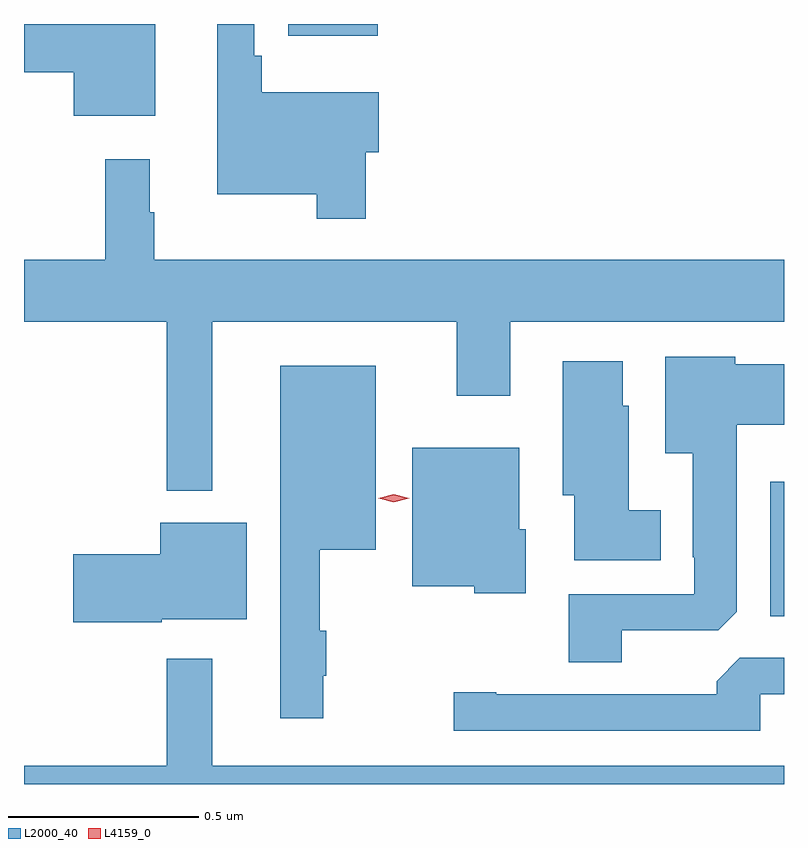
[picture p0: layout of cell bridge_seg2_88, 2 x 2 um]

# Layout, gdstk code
import gdstk
lib = gdstk.Library(unit=1e-6, precision=1e-09)
def R(c, l, rs):  # rectangles x0, y0, x1, y1
    for r in rs: c.add(gdstk.rectangle(r[:2], r[2:], *l))
def P(c, l, *ps):  # polygons
    for p in ps: c.add(gdstk.Polygon(p, *l))
L2000_40 = (2000, 40)
L4159_0 = (4159, 0)

bridge_seg2_88 = lib.new_cell('bridge_seg2_88')
R(bridge_seg2_88, L2000_40, [(327.251,641.534,327.287,641.887), (325.982,643.061,326.218,643.092)])
P(bridge_seg2_88, L2000_40, [(326.186,642.755),(326.221,642.755),(326.221,642.913),(325.913,642.913),(325.913,643.009),(325.893,643.009),(325.893,643.092),(325.796,643.092),(325.796,642.644),(326.058,642.644),(326.058,642.579),(326.186,642.579)],
  [(325.633,643.092),(325.287,643.092),(325.287,642.965),(325.418,642.965),(325.418,642.851),(325.633,642.851)],
  [(325.783,642.308),(326.426,642.308),(326.426,642.114),(326.566,642.114),(326.566,642.308),(327.287,642.308),(327.287,642.472),(325.63,642.472),(325.63,642.596),(325.618,642.596),(325.618,642.736),(325.501,642.736),(325.501,642.472),(325.287,642.472),(325.287,642.308),(325.662,642.308),(325.662,641.864),(325.783,641.864)],
  [(326.86,641.496),(327.114,641.496),(327.163,641.545),(327.163,642.038),(327.287,642.038),(327.287,642.196),(327.159,642.196),(327.159,642.217),(326.975,642.217),(326.975,641.963),(327.047,641.963),(327.047,641.689),(327.051,641.689),(327.051,641.592),(326.72,641.592),(326.72,641.413),(326.86,641.413)],
  [(326.962,641.812),(326.878,641.812),(326.878,642.087),(326.863,642.087),(326.863,642.205),(326.705,642.205),(326.705,641.852),(326.735,641.852),(326.735,641.681),(326.962,641.681)],
  [(326.075,641.377),(326.083,641.377),(326.083,641.495),(326.065,641.495),(326.065,641.708),(326.212,641.708),(326.212,642.193),(325.961,642.193),(325.961,641.265),(326.075,641.265)],
  [(326.608,641.763),(326.59,641.763),(326.59,641.977),(326.309,641.977),(326.309,641.612),(326.472,641.612),(326.472,641.594),(326.608,641.594)],
  [(325.65,641.525),(325.873,641.525),(325.873,641.779),(325.646,641.779),(325.646,641.696),(325.416,641.696),(325.416,641.518),(325.65,641.518)],
  [(327.225,641.328),(327.287,641.328),(327.287,641.424),(327.171,641.424),(327.11,641.362),(327.11,641.328),(326.53,641.328),(326.53,641.333),(326.418,641.333),(326.418,641.232),(327.225,641.232)],
  [(327.287,641.14),(325.783,641.14),(325.783,641.422),(325.662,641.422),(325.662,641.14),(325.287,641.14),(325.287,641.092),(327.287,641.092)])
P(bridge_seg2_88, L4159_0, [(326.26,641.834),(326.219,641.844),(326.219,641.844),(326.219,641.844),(326.26,641.854),(326.301,641.844),(326.301,641.844),(326.301,641.844)])

lib.write_gds('bridge_seg2_88.gds')
